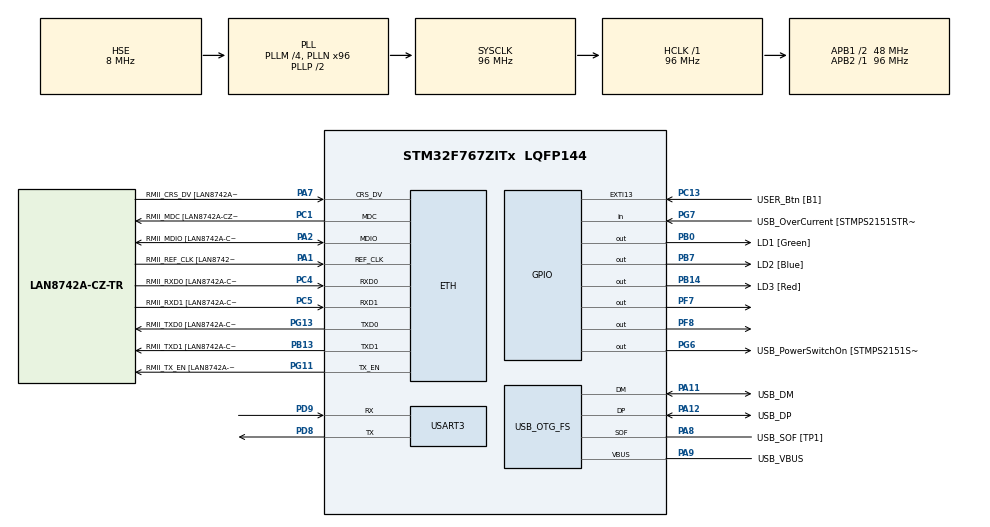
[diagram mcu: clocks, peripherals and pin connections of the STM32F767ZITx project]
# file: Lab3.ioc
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ETH.MediaInterface=HAL_ETH_RMII_MODE
ETH.PHY_Name=LAN8742A_PHY_ADDRESS
ETH.PHY_Value=0
ETH.PhyAddress=0
Mcu.Family=STM32F7
Mcu.Name=STM32F767ZITx
Mcu.Package=LQFP144
NVIC.PriorityGroup=NVIC_PRIORITYGROUP_4
PA1.GPIO_Label=RMII_REF_CLK [LAN8742A-CZ-TR_REFCLK0]
PA1.Mode=RMII
PA1.Signal=ETH_REF_CLK
PA10.GPIO_Label=USB_ID
PA10.Signal=USB_OTG_FS_ID
PA11.GPIO_Label=USB_DM
PA11.Mode=Device_Only
PA11.Signal=USB_OTG_FS_DM
PA12.GPIO_Label=USB_DP
PA12.Mode=Device_Only
PA12.Signal=USB_OTG_FS_DP
PA13.GPIO_Label=TMS
PA13.Mode=Serial_Wire
PA13.Signal=SYS_JTMS-SWDIO
PA14.GPIO_Label=TCK
PA14.Mode=Serial_Wire
PA14.Signal=SYS_JTCK-SWCLK
PA2.GPIO_Label=RMII_MDIO [LAN8742A-CZ-TR_MDIO]
PA2.Mode=RMII
PA2.Signal=ETH_MDIO
PA7.GPIO_Label=RMII_CRS_DV [LAN8742A-CZ-TR_CRS_DV]
PA7.Mode=RMII
PA7.Signal=ETH_CRS_DV
PA8.GPIO_Label=USB_SOF [TP1]
PA8.Mode=Activate_SOF_FS
PA8.Signal=USB_OTG_FS_SOF
PA9.GPIO_Label=USB_VBUS
PA9.Mode=Activate_VBUS
PA9.Signal=USB_OTG_FS_VBUS
PB0.GPIO_Label=LD1 [Green]
PB0.Signal=GPIO_Output
PB13.GPIO_Label=RMII_TXD1 [LAN8742A-CZ-TR_TXD1]
PB13.Mode=RMII
PB13.Signal=ETH_TXD1
PB14.GPIO_Label=LD3 [Red]
PB14.Signal=GPIO_Output
PB3.GPIO_Label=SWO
PB3.Signal=SYS_JTDO-SWO
PB7.GPIO_Label=LD2 [Blue]
PB7.Signal=GPIO_Output
PC1.GPIO_Label=RMII_MDC [LAN8742A-CZ-TR_MDC]
PC1.Mode=RMII
PC1.Signal=ETH_MDC
PC13.GPIO_Label=USER_Btn [B1]
PC13.Signal=GPXTI13
PC14/OSC32_IN.Mode=LSE-External-Oscillator
PC14/OSC32_IN.Signal=RCC_OSC32_IN
PC15/OSC32_OUT.Mode=LSE-External-Oscillator
PC15/OSC32_OUT.Signal=RCC_OSC32_OUT
PC4.GPIO_Label=RMII_RXD0 [LAN8742A-CZ-TR_RXD0]
PC4.Mode=RMII
PC4.Signal=ETH_RXD0
PC5.GPIO_Label=RMII_RXD1 [LAN8742A-CZ-TR_RXD1]
PC5.Mode=RMII
PC5.Signal=ETH_RXD1
PD8.Mode=Asynchronous
PD8.Signal=USART3_TX
PD9.Mode=Asynchronous
PD9.Signal=USART3_RX
PF7.Signal=GPIO_Output
PF8.Signal=GPIO_Output
PG11.GPIO_Label=RMII_TX_EN [LAN8742A-CZ-TR_TXEN]
PG11.Mode=RMII
PG11.Signal=ETH_TX_EN
PG13.GPIO_Label=RMII_TXD0 [LAN8742A-CZ-TR_TXD0]
PG13.Mode=RMII
PG13.Signal=ETH_TXD0
PG6.GPIO_Label=USB_PowerSwitchOn [STMPS2151STR_EN]
PG6.Signal=GPIO_Output
PG7.GPIO_Label=USB_OverCurrent [STMPS2151STR_FAULT]
PG7.Signal=GPIO_Input
PH0/OSC_IN.GPIO_Label=MCO [STM32F103CBT6_PA8]
PH0/OSC_IN.Mode=HSE-External-Clock-Source
PH0/OSC_IN.Signal=RCC_OSC_IN
PH1/OSC_OUT.Mode=HSE-External-Clock-Source
PH1/OSC_OUT.Signal=RCC_OSC_OUT
ProjectManager.HeapSize=0x200
ProjectManager.StackSize=0x400
ProjectManager.TargetToolchain=STM32CubeIDE
RCC.48MHZClocksFreq_Value=24000000
RCC.AHBFreq_Value=96000000
RCC.APB1CLKDivider=RCC_HCLK_DIV2
RCC.APB1Freq_Value=48000000
RCC.APB1TimFreq_Value=96000000
RCC.APB2Freq_Value=96000000
RCC.APB2TimFreq_Value=96000000
RCC.CortexFreq_Value=96000000
RCC.HCLKFreq_Value=96000000
RCC.HSE_VALUE=8000000
RCC.HSI_VALUE=16000000
RCC.PLLM=4
RCC.PLLMUL=RCC_PLL_MUL9
RCC.PLLN=96
RCC.PLLQ=4
RCC.PRESCALERUSB=RCC_USBCLKSOURCE_PLL_DIV1_5
RCC.SYSCLKFreq_VALUE=96000000
RCC.SYSCLKSource=RCC_SYSCLKSOURCE_PLLCLK
RCC.SYSCLKSourceVirtual=RCC_SYSCLKSOURCE_PLLCLK
RCC.USBFreq_Value=48000000
RCC.VCOOutputFreq_Value=192000000
USART3.VirtualMode-Asynchronous=VM_ASYNC
USB_OTG_FS.VirtualMode=Device_Only
board=NUCLEO-F767ZI

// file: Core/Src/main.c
/* USER CODE BEGIN Header */
/**
  ******************************************************************************
  * @file           : main.c
  * @brief          : Main program body
  ******************************************************************************
  * @attention
  *
  * Copyright (c) 2025 STMicroelectronics.
  * All rights reserved.
  *
  * This software is licensed under terms that can be found in the LICENSE file
  * in the root directory of this software component.
  * If no LICENSE file comes with this software, it is provided AS-IS.
  *
  ******************************************************************************
  */
/* USER CODE END Header */
#include "main.h"
#include "eth.h"
#include "usart.h"
#include "usb_otg.h"
#include "gpio.h"

/* USER CODE BEGIN Includes */
#include "string.h"
/* USER CODE END Includes */

/* USER CODE BEGIN PV */
char ch1 = 'A';
char str[] = "Hello, World!!\r\n";
uint8_t rx_data;
char name[] = "66010121\r\nJiraphat Sabutr\r\n66010593\r\nPeerawit Dusitkul\r\n";
char unknown[] = "Unknown Command\r\n";
char quit[] = "Quit\r\n";
uint8_t state = 0;
char ini[] = "\r\nDisplay Blinking LED PRESS (1, 2)\r\nDisplay Group Members PRESS m\r\nQuit PRESS q\r\n";
/* USER CODE END PV */

void SystemClock_Config(void);

int main(void)
{

  /* MCU Configuration--------------------------------------------------------*/

  /* Reset of all peripherals, Initializes the Flash interface and the Systick. */
  HAL_Init();

  /* Configure the system clock */
  SystemClock_Config();

  /* Initialize all configured peripherals */
  MX_GPIO_Init();
  MX_ETH_Init();
  MX_USART3_UART_Init();
  MX_USB_OTG_FS_PCD_Init();

  /* Infinite loop */
  while (1)
  {

    /* USER CODE BEGIN 3 */
	  if (state == 0){
		  HAL_UART_Transmit(&huart3, (uint8_t*)ini, strlen(ini), HAL_MAX_DELAY);
		  state++;
	  }
	  const char *input = "\tInput => ";
	  HAL_UART_Transmit(&huart3, (uint8_t*)input, strlen(input), HAL_MAX_DELAY);

	  HAL_UART_Receive(&huart3, &rx_data, 1, HAL_MAX_DELAY);

	  HAL_UART_Transmit(&huart3, &rx_data, 1, HAL_MAX_DELAY);

	  const char *nl = "\r\n";
	  HAL_UART_Transmit(&huart3, (uint8_t*)nl, strlen(nl), HAL_MAX_DELAY);

	  if (rx_data == '1'){
		  for(int i = 0; i < 3; i++){
			  HAL_GPIO_WritePin(GPIOF, GPIO_PIN_7, SET);
			  HAL_Delay(300);
			  HAL_GPIO_WritePin(GPIOF, GPIO_PIN_7, RESET);
			  HAL_Delay(300);
		  }
	  }else if (rx_data == '2'){
		  for(int i = 0; i < 3; i++){
		  	  HAL_GPIO_WritePin(GPIOF, GPIO_PIN_8, SET);
		  	  HAL_Delay(300);
		  	  HAL_GPIO_WritePin(GPIOF, GPIO_PIN_8, RESET);
		  	  HAL_Delay(300);
		  }
	  }else if (rx_data == 'm'){
		  HAL_UART_Transmit(&huart3, (uint8_t*)name, strlen(name), HAL_MAX_DELAY);
	  }else if (rx_data == 'q'){
		  HAL_UART_Transmit(&huart3, (uint8_t*)quit, strlen(quit), HAL_MAX_DELAY);
		  HAL_Delay(300);
		  break;
	  }
	  else{
		  HAL_UART_Transmit(&huart3, (uint8_t*)unknown, strlen(unknown), HAL_MAX_DELAY);
	  }

  }
  /* USER CODE END 3 */
}

void SystemClock_Config(void)
{
  RCC_OscInitTypeDef RCC_OscInitStruct = {0};
  RCC_ClkInitTypeDef RCC_ClkInitStruct = {0};

  /** Configure LSE Drive Capability
  */
  HAL_PWR_EnableBkUpAccess();

  /** Configure the main internal regulator output voltage
  */
  __HAL_RCC_PWR_CLK_ENABLE();
  __HAL_PWR_VOLTAGESCALING_CONFIG(PWR_REGULATOR_VOLTAGE_SCALE3);

  /** Initializes the RCC Oscillators according to the specified parameters
  * in the RCC_OscInitTypeDef structure.
  */
  RCC_OscInitStruct.OscillatorType = RCC_OSCILLATORTYPE_HSE;
  RCC_OscInitStruct.HSEState = RCC_HSE_BYPASS;
  RCC_OscInitStruct.PLL.PLLState = RCC_PLL_ON;
  RCC_OscInitStruct.PLL.PLLSource = RCC_PLLSOURCE_HSE;
  RCC_OscInitStruct.PLL.PLLM = 4;
  RCC_OscInitStruct.PLL.PLLN = 96;
  RCC_OscInitStruct.PLL.PLLP = RCC_PLLP_DIV2;
  RCC_OscInitStruct.PLL.PLLQ = 4;
  RCC_OscInitStruct.PLL.PLLR = 2;
  if (HAL_RCC_OscConfig(&RCC_OscInitStruct) != HAL_OK)
  {
    Error_Handler();
  }

  /** Activate the Over-Drive mode
  */
  if (HAL_PWREx_EnableOverDrive() != HAL_OK)
  {
    Error_Handler();
  }

  /** Initializes the CPU, AHB and APB buses clocks
  */
  RCC_ClkInitStruct.ClockType = RCC_CLOCKTYPE_HCLK|RCC_CLOCKTYPE_SYSCLK
                              |RCC_CLOCKTYPE_PCLK1|RCC_CLOCKTYPE_PCLK2;
  RCC_ClkInitStruct.SYSCLKSource = RCC_SYSCLKSOURCE_PLLCLK;
  RCC_ClkInitStruct.AHBCLKDivider = RCC_SYSCLK_DIV1;
  RCC_ClkInitStruct.APB1CLKDivider = RCC_HCLK_DIV2;
  RCC_ClkInitStruct.APB2CLKDivider = RCC_HCLK_DIV1;

  if (HAL_RCC_ClockConfig(&RCC_ClkInitStruct, FLASH_LATENCY_3) != HAL_OK)
  {
    Error_Handler();
  }
}

void Error_Handler(void)
{
  __disable_irq();
  while (1)
  {
  }
}
